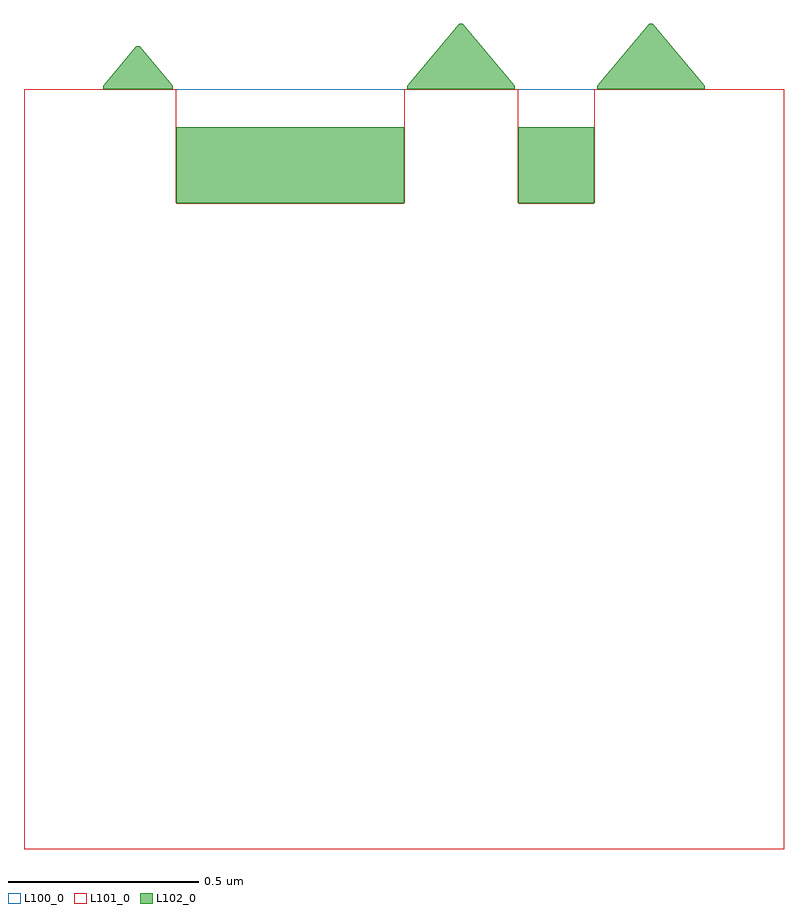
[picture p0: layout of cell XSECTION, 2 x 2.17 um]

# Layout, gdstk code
import gdstk
lib = gdstk.Library(unit=1e-6, precision=1e-09)
def R(c, l, rs):  # rectangles x0, y0, x1, y1
    for r in rs: c.add(gdstk.rectangle(r[:2], r[2:], *l))
def P(c, l, *ps):  # polygons
    for p in ps: c.add(gdstk.Polygon(p, *l))
L100_0 = (100, 0)
L101_0 = (101, 0)
L102_0 = (102, 0)

xsection = lib.new_cell('XSECTION')
R(xsection, L100_0, [(0,-2,2,0)])
P(xsection, L101_0, [(0,-2),(0,0),(0.4,0),(0.4,-0.3),(1,-0.3),(1,0),(1.3,0),(1.3,-0.3),(1.5,-0.3),(1.5,0),(2,0),(2,-2)])
R(xsection, L102_0, [(0.4,-0.3,1,-0.1), (1.3,-0.3,1.5,-0.1)])
P(xsection, L102_0, [(0.208,0),(0.208,0.01),(0.295,0.113),(0.305,0.113),(0.392,0.01),(0.392,0)],
  [(1.008,0),(1.008,0.01),(1.145,0.173),(1.155,0.173),(1.292,0.01),(1.292,0)],
  [(1.508,0),(1.508,0.01),(1.645,0.173),(1.655,0.173),(1.792,0.01),(1.792,0)])

lib.write_gds('XSECTION.gds')
